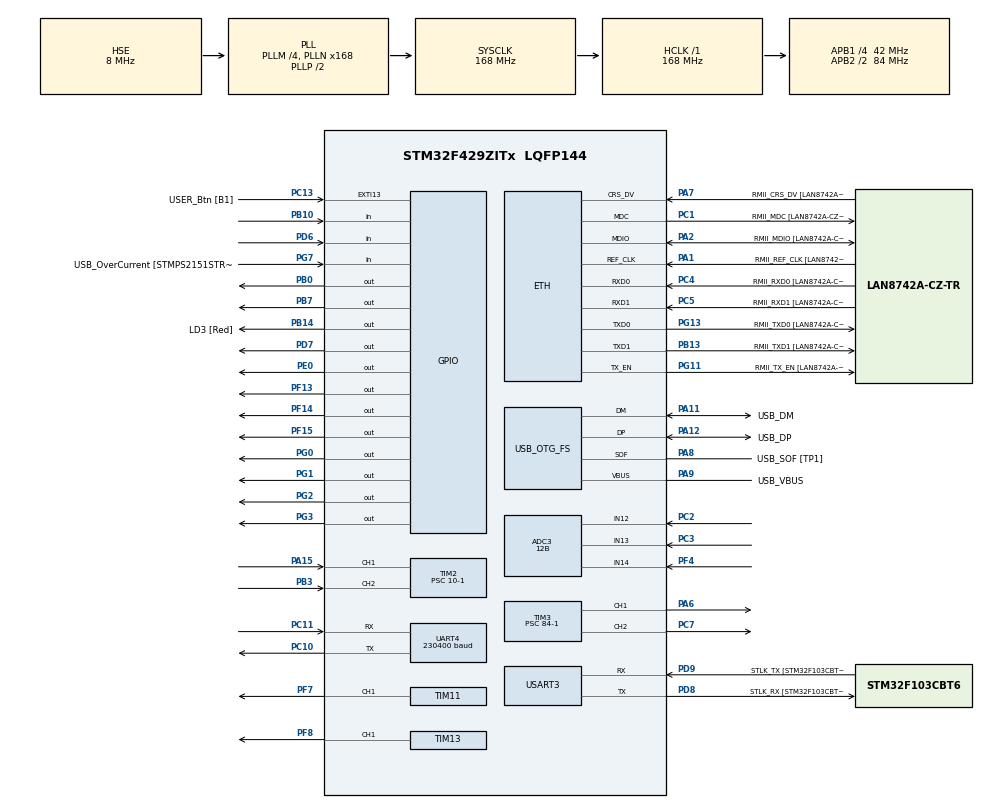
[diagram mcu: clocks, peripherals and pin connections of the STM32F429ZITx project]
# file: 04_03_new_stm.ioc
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ADC3.Channel-3\#ChannelRegularConversion=ADC_CHANNEL_13
ADC3.Channel-4\#ChannelRegularConversion=ADC_CHANNEL_12
ADC3.Channel-5\#ChannelRegularConversion=ADC_CHANNEL_14
ADC3.ContinuousConvMode=DISABLE
ADC3.DMAContinuousRequests=ENABLE
ADC3.DiscontinuousConvMode=ENABLE
ADC3.ExternalTrigConv=ADC_EXTERNALTRIGCONV_T8_TRGO
ADC3.NbrOfConversion=3
ADC3.NbrOfConversionFlag=1
ADC3.NbrOfDiscConversion=3
ADC3.Rank-3\#ChannelRegularConversion=1
ADC3.Rank-4\#ChannelRegularConversion=2
ADC3.Rank-5\#ChannelRegularConversion=3
ADC3.Resolution=ADC_RESOLUTION_12B
ADC3.SamplingTime-3\#ChannelRegularConversion=ADC_SAMPLETIME_84CYCLES
ADC3.SamplingTime-4\#ChannelRegularConversion=ADC_SAMPLETIME_480CYCLES
ADC3.SamplingTime-5\#ChannelRegularConversion=ADC_SAMPLETIME_480CYCLES
ADC3.ScanConvMode=ENABLE
Dma.ADC3.0.Direction=DMA_PERIPH_TO_MEMORY
Dma.ADC3.0.FIFOMode=DMA_FIFOMODE_DISABLE
Dma.ADC3.0.Instance=DMA2_Stream1
Dma.ADC3.0.MemDataAlignment=DMA_MDATAALIGN_HALFWORD
Dma.ADC3.0.MemInc=DMA_MINC_ENABLE
Dma.ADC3.0.Mode=DMA_CIRCULAR
Dma.ADC3.0.PeriphDataAlignment=DMA_PDATAALIGN_HALFWORD
Dma.ADC3.0.PeriphInc=DMA_PINC_DISABLE
Dma.ADC3.0.Priority=DMA_PRIORITY_LOW
Dma.Request0=ADC3
ETH.MediaInterface=HAL_ETH_RMII_MODE
ETH.PHY_Name=LAN8742A_PHY_ADDRESS
ETH.PHY_Value=0
ETH.PhyAddress=0
Mcu.Family=STM32F4
Mcu.Name=STM32F429ZITx
Mcu.Package=LQFP144
NVIC.ADC_IRQn=true\:0\:0\:true\:false\:true\:true\:true\:true
NVIC.DMA2_Stream1_IRQn=true\:0\:0\:false\:false\:true\:false\:true\:true
NVIC.PriorityGroup=NVIC_PRIORITYGROUP_4
NVIC.TIM1_TRG_COM_TIM11_IRQn=true\:0\:0\:true\:false\:true\:true\:true\:true
NVIC.TIM3_IRQn=true\:0\:0\:true\:false\:true\:true\:true\:true
NVIC.TIM6_DAC_IRQn=true\:0\:0\:true\:false\:true\:true\:true\:true
NVIC.TIM8_BRK_TIM12_IRQn=true\:0\:0\:true\:false\:true\:true\:true\:true
NVIC.TIM8_TRG_COM_TIM14_IRQn=true\:0\:0\:true\:false\:true\:true\:true\:true
NVIC.TIM8_UP_TIM13_IRQn=true\:0\:0\:true\:false\:true\:true\:true\:true
NVIC.UART4_IRQn=true\:15\:0\:true\:false\:true\:true\:true\:true
NVIC.USART3_IRQn=true\:15\:0\:true\:false\:true\:true\:true\:true
PA1.GPIO_Label=RMII_REF_CLK [LAN8742A-CZ-TR_REFCLK0]
PA1.Mode=RMII
PA1.Signal=ETH_REF_CLK
PA10.GPIO_Label=USB_ID
PA10.Signal=USB_OTG_FS_ID
PA11.GPIO_Label=USB_DM
PA11.Mode=Device_Only
PA11.Signal=USB_OTG_FS_DM
PA12.GPIO_Label=USB_DP
PA12.Mode=Device_Only
PA12.Signal=USB_OTG_FS_DP
PA13.GPIO_Label=TMS
PA13.Mode=Serial_Wire
PA13.Signal=SYS_JTMS-SWDIO
PA14.GPIO_Label=TCK
PA14.Mode=Serial_Wire
PA14.Signal=SYS_JTCK-SWCLK
PA15.Signal=S_TIM2_CH1_ETR
PA2.GPIO_Label=RMII_MDIO [LAN8742A-CZ-TR_MDIO]
PA2.Mode=RMII
PA2.Signal=ETH_MDIO
PA6.Signal=S_TIM3_CH1
PA7.GPIO_Label=RMII_CRS_DV [LAN8742A-CZ-TR_CRS_DV]
PA7.Mode=RMII
PA7.Signal=ETH_CRS_DV
PA8.GPIO_Label=USB_SOF [TP1]
PA8.Mode=Activate_SOF_FS
PA8.Signal=USB_OTG_FS_SOF
PA9.GPIO_Label=USB_VBUS
PA9.Mode=Activate_VBUS
PA9.Signal=USB_OTG_FS_VBUS
PB0.Signal=GPIO_Output
PB10.Signal=GPIO_Input
PB13.GPIO_Label=RMII_TXD1 [LAN8742A-CZ-TR_TXD1]
PB13.Mode=RMII
PB13.Signal=ETH_TXD1
PB14.GPIO_Label=LD3 [Red]
PB14.Signal=GPIO_Output
PB3.Signal=S_TIM2_CH2
PB7.Signal=GPIO_Output
PC1.GPIO_Label=RMII_MDC [LAN8742A-CZ-TR_MDC]
PC1.Mode=RMII
PC1.Signal=ETH_MDC
PC10.Mode=Asynchronous
PC10.Signal=UART4_TX
PC11.Mode=Asynchronous
PC11.Signal=UART4_RX
PC13.GPIO_Label=USER_Btn [B1]
PC13.Signal=GPXTI13
PC14/OSC32_IN.Mode=LSE-External-Oscillator
PC14/OSC32_IN.Signal=RCC_OSC32_IN
PC15/OSC32_OUT.Mode=LSE-External-Oscillator
PC15/OSC32_OUT.Signal=RCC_OSC32_OUT
PC2.Signal=ADCx_IN12
PC3.Signal=ADCx_IN13
PC4.GPIO_Label=RMII_RXD0 [LAN8742A-CZ-TR_RXD0]
PC4.Mode=RMII
PC4.Signal=ETH_RXD0
PC5.GPIO_Label=RMII_RXD1 [LAN8742A-CZ-TR_RXD1]
PC5.Mode=RMII
PC5.Signal=ETH_RXD1
PC7.Signal=S_TIM3_CH2
PD6.Signal=GPIO_Input
PD7.Signal=GPIO_Output
PD8.GPIO_Label=STLK_RX [STM32F103CBT6_PA3]
PD8.Mode=Asynchronous
PD8.Signal=USART3_TX
PD9.GPIO_Label=STLK_TX [STM32F103CBT6_PA2]
PD9.Mode=Asynchronous
PD9.Signal=USART3_RX
PE0.Signal=GPIO_Output
PF13.Signal=GPIO_Output
PF14.Signal=GPIO_Output
PF15.Signal=GPIO_Output
PF4.Mode=IN14
PF4.Signal=ADC3_IN14
PF7.Signal=S_TIM11_CH1
PF8.Signal=S_TIM13_CH1
PG0.Signal=GPIO_Output
PG1.Signal=GPIO_Output
PG11.GPIO_Label=RMII_TX_EN [LAN8742A-CZ-TR_TXEN]
PG11.Mode=RMII
PG11.Signal=ETH_TX_EN
PG13.GPIO_Label=RMII_TXD0 [LAN8742A-CZ-TR_TXD0]
PG13.Mode=RMII
PG13.Signal=ETH_TXD0
PG2.Signal=GPIO_Output
PG3.Signal=GPIO_Output
PG7.GPIO_Label=USB_OverCurrent [STMPS2151STR_FAULT]
PG7.Signal=GPIO_Input
PH0/OSC_IN.GPIO_Label=MCO [STM32F103CBT6_PA8]
PH0/OSC_IN.Mode=HSE-External-Clock-Source
PH0/OSC_IN.Signal=RCC_OSC_IN
PH1/OSC_OUT.Mode=HSE-External-Clock-Source
PH1/OSC_OUT.Signal=RCC_OSC_OUT
ProjectManager.HeapSize=0x200
ProjectManager.StackSize=0x400
ProjectManager.TargetToolchain=STM32CubeIDE
RCC.48MHZClocksFreq_Value=48000000
RCC.AHBFreq_Value=168000000
RCC.APB1CLKDivider=RCC_HCLK_DIV4
RCC.APB1Freq_Value=42000000
RCC.APB1TimFreq_Value=84000000
RCC.APB2CLKDivider=RCC_HCLK_DIV2
RCC.APB2Freq_Value=84000000
RCC.APB2TimCLKDivider=2
RCC.APB2TimFreq_Value=168000000
RCC.CortexFreq_Value=168000000
RCC.HCLKFreq_Value=168000000
RCC.HSE_VALUE=8000000
RCC.HSI_VALUE=16000000
RCC.PLLM=4
RCC.PLLMUL=RCC_PLL_MUL9
RCC.PLLN=168
RCC.PLLQ=7
RCC.PRESCALERUSB=RCC_USBCLKSOURCE_PLL_DIV1_5
RCC.SYSCLKFreq_VALUE=168000000
RCC.SYSCLKSource=RCC_SYSCLKSOURCE_PLLCLK
RCC.SYSCLKSourceVirtual=RCC_SYSCLKSOURCE_PLLCLK
RCC.USBFreq_Value=48000000
RCC.VCOOutputFreq_Value=336000000
SH.ADCx_IN12.0=ADC3_IN12,IN12
SH.ADCx_IN13.0=ADC3_IN13,IN13
SH.S_TIM11_CH1.0=TIM11_CH1,Output Compare1 CH1
SH.S_TIM13_CH1.0=TIM13_CH1,Output Compare1 CH1
SH.S_TIM2_CH1_ETR.0=TIM2_CH1,Encoder_Interface
SH.S_TIM2_CH2.0=TIM2_CH2,Encoder_Interface
SH.S_TIM3_CH1.0=TIM3_CH1,PWM Generation1 CH1
SH.S_TIM3_CH2.0=TIM3_CH2,PWM Generation2 CH2
TIM11.AutoReloadPreload=TIM_AUTORELOAD_PRELOAD_ENABLE
TIM11.Channel=TIM_CHANNEL_1
TIM11.OCMode_1=TIM_OCMODE_TOGGLE
TIM11.Period=800-1
TIM11.Prescaler=168-1
TIM11.Pulse=50
TIM12.Prescaler=42-1
TIM13.AutoReloadPreload=TIM_AUTORELOAD_PRELOAD_ENABLE
TIM13.Channel=TIM_CHANNEL_1
TIM13.OCMode_1=TIM_OCMODE_TOGGLE
TIM13.Period=800-1
TIM13.Prescaler=84-1
TIM13.Pulse=50
TIM14.Period=1000-1
TIM14.Prescaler=840-1
TIM2.EncoderMode=TIM_ENCODERMODE_TI12
TIM2.IC1Prescaler=TIM_ICPSC_DIV1
TIM2.IC2Prescaler=TIM_ICPSC_DIV1
TIM2.Period=0xFFFFFFFF-1
TIM2.Prescaler=10-1
TIM3.Channel-PWM\ Generation1\ CH1=TIM_CHANNEL_1
TIM3.Channel-PWM\ Generation2\ CH2=TIM_CHANNEL_2
TIM3.OC1Preload_PWM=DISABLE
TIM3.OC2Preload_PWM=DISABLE
TIM3.Period=10000-1
TIM3.Prescaler=84-1
TIM3.Pulse-PWM\ Generation1\ CH1=1000
TIM3.Pulse-PWM\ Generation2\ CH2=1000
TIM6.Period=1000-1
TIM6.Prescaler=84-1
TIM8.Channel-Output\ Compare4\ No\ Output=TIM_CHANNEL_4
TIM8.Period=30-1
TIM8.Prescaler=84-1
TIM8.Pulse-Output\ Compare4\ No\ Output=2000
TIM8.TIM_MasterOutputTrigger=TIM_TRGO_UPDATE
UART4.BaudRate=230400
UART4.Parity=PARITY_EVEN
UART4.VirtualMode=Asynchronous
USART3.VirtualMode=VM_ASYNC
USB_OTG_FS.VirtualMode=Device_Only
VP_TIM11_VS_ClockSourceINT.Mode=Enable_Timer
VP_TIM12_VS_ClockSourceINT.Mode=Internal
VP_TIM13_VS_ClockSourceINT.Mode=Enable_Timer
VP_TIM14_VS_ClockSourceINT.Mode=Enable_Timer
VP_TIM3_VS_ClockSourceINT.Mode=Internal
VP_TIM6_VS_ClockSourceINT.Mode=Enable_Timer
VP_TIM8_VS_ClockSourceINT.Mode=Internal
VP_TIM8_VS_no_output4.Mode=Output Compare4 No Output
board=NUCLEO-F429ZI

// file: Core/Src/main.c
/* USER CODE BEGIN Header */
/**
 ******************************************************************************
 * @file           : main.c
 * @brief          : Main program body
 ******************************************************************************
 * @attention
 *
 * Copyright (c) 2024 STMicroelectronics.
 * All rights reserved.
 *
 * This software is licensed under terms that can be found in the LICENSE file
 * in the root directory of this software component.
 * If no LICENSE file comes with this software, it is provided AS-IS.
 *
 ******************************************************************************
 */
/* USER CODE END Header */
#include "main.h"
#include "string.h"

/* USER CODE BEGIN Includes */
#include "sensor.h"
#include "com.h"
#include "pid.h"
#include "step.h"
#include <stdio.h>
//ㅇㅇ

extern float battery_V;

uint8_t buffer[256];

uint8_t key_value;

uint8_t data;

uint32_t encoder_count = 1000000;

float RPM;
float RPS;
float Omega;
uint16_t RPM_uint16;
uint16_t battery_uint16;

uint8_t ENC[4];

uint16_t ADC3_value[3];

extern int tim14_flag;
extern int tim6_flag;
extern int tim13_flag;
extern int tim11_flag;

extern int tim12_flag;

/* USER CODE END Includes */

ETH_TxPacketConfig TxConfig;
ETH_DMADescTypeDef  DMARxDscrTab[ETH_RX_DESC_CNT]; /* Ethernet Rx DMA Descriptors */
ETH_DMADescTypeDef  DMATxDscrTab[ETH_TX_DESC_CNT]; /* Ethernet Tx DMA Descriptors */

ADC_HandleTypeDef hadc3;
DMA_HandleTypeDef hdma_adc3;

ETH_HandleTypeDef heth;

TIM_HandleTypeDef htim2;
TIM_HandleTypeDef htim3;
TIM_HandleTypeDef htim6;
TIM_HandleTypeDef htim8;
TIM_HandleTypeDef htim11;
TIM_HandleTypeDef htim12;
TIM_HandleTypeDef htim13;
TIM_HandleTypeDef htim14;

UART_HandleTypeDef huart4;
UART_HandleTypeDef huart3;

PCD_HandleTypeDef hpcd_USB_OTG_FS;

void SystemClock_Config(void);
static void MX_GPIO_Init(void);
static void MX_DMA_Init(void);
static void MX_ETH_Init(void);
static void MX_USART3_UART_Init(void);
static void MX_USB_OTG_FS_PCD_Init(void);
static void MX_TIM3_Init(void);
static void MX_TIM14_Init(void);
static void MX_UART4_Init(void);
static void MX_TIM2_Init(void);
static void MX_TIM8_Init(void);
static void MX_TIM6_Init(void);
static void MX_TIM13_Init(void);
static void MX_ADC3_Init(void);
static void MX_TIM12_Init(void);
static void MX_TIM11_Init(void);

/* USER CODE BEGIN 0 */
extern uint16_t shaft_step;
extern uint16_t shaft_pulse_cycle;

extern uint16_t ball_screw_step;
extern uint16_t ball_screw_pulse_cycle;

extern uint16_t step_start;

int  qwedasd;
/* USER CODE END 0 */

int main(void)
{

  /* MCU Configuration--------------------------------------------------------*/

  /* Reset of all peripherals, Initializes the Flash interface and the Systick. */
  HAL_Init();

  /* Configure the system clock */
  SystemClock_Config();

  /* Initialize all configured peripherals */
  MX_GPIO_Init();
  MX_DMA_Init();
  MX_ETH_Init();
  MX_USART3_UART_Init();
  MX_USB_OTG_FS_PCD_Init();
  MX_TIM3_Init();
  MX_TIM14_Init();
  MX_UART4_Init();
  MX_TIM2_Init();
  MX_TIM8_Init();
  MX_TIM6_Init();
  MX_TIM13_Init();
  MX_ADC3_Init();
  MX_TIM12_Init();
  MX_TIM11_Init();
  /* USER CODE BEGIN 2 */

	HAL_UART_Receive_IT(&huart3, &key_value, 1);
	HAL_UART_Receive_IT(&huart4, &data, 1);

	HAL_ADC_Start_DMA(&hadc3, (uint32_t*) ADC3_value, 3);

	HAL_TIM_Base_Start_IT(&htim6);
	//HAL_TIM_Base_Start_IT(&htim7);

	//HAL_TIM_Base_Start(&htim1);
	HAL_TIM_Base_Start_IT(&htim12);
//	HAL_TIM_OC_Start_IT(&htim13,TIM_CHANNEL_1);
	HAL_TIM_PWM_Start_IT(&htim3, TIM_CHANNEL_1);
	setvbuf(stdin, NULL, _IONBF, 0);
  /* USER CODE END 2 */

  /* Infinite loop */
	while (1) {

    /* USER CODE BEGIN 3 */

		encoder_count = TIM2->CNT;

		//바퀴 pid >> tim6 인터럽트 핸들러 내부
		//z축 볼스크류 스텝모터  >> tim11 인터럽트 핸들러 내부
		//축 스텝모터  >> tim13 인터럽트 핸들러 내부
/*

		if (tim11_flag == 1) {
		tim11_flag = 0;
		}

		if (tim13_flag == 1 && step_enable == 1) { //축 스텝모터

			if (tim14_flag >= 120) { //1.2초후 최고속도
				shaft_pulse_cycle = 9000;
			}

		}
*/
		if (tim6_flag == 1) {  //0.01s
			distance_sensor();  //거리 센서

			tim6_flag = 0;
		}
		if (tim14_flag == 200) //2초
				{
			GPIOB->ODR ^= 1 << 7;
			RPM_uint16 = RPM * 10;
			battery_uint16 = battery_V * 100;

			SerialSendChar_WIFI('?');

			/*
			 sprintf((char *)buffer, "%d \r\n",battery_uint16);
			 HAL_UART_Transmit(&huart3, buffer, strlen((char *)buffer), 100);

			 sprintf((char *)buffer, "%d \r\n",RPM_uint16);
			 HAL_UART_Transmit(&huart3, buffer, strlen((char *)buffer), 100);
			 */

//배터리, 속도 전송
			sprintf((char*) buffer, "%d", battery_uint16);
			HAL_UART_Transmit(&huart4, buffer, strlen((char*) buffer), 100);
			sprintf((char*) buffer, "%d", RPM_uint16);
			HAL_UART_Transmit(&huart4, buffer, strlen((char*) buffer), 100);
			sprintf((char*) buffer, "%d", battery_uint16);
			HAL_UART_Transmit(&huart4, buffer, strlen((char*) buffer), 100);

			tim14_flag = 0;
		}

	/*	if (tim6_flag == 1) {
			if (position_start == 1) {
				position_pid();

				tim6_flag = 0;
			}
		}
*/
		//  printf("%d %d \n\r",encoder_count,input_position );

//	  HAL_Delay(1);

	}
  /* USER CODE END 3 */
}

void SystemClock_Config(void)
{
  RCC_OscInitTypeDef RCC_OscInitStruct = {0};
  RCC_ClkInitTypeDef RCC_ClkInitStruct = {0};

  /** Configure the main internal regulator output voltage
  */
  __HAL_RCC_PWR_CLK_ENABLE();
  __HAL_PWR_VOLTAGESCALING_CONFIG(PWR_REGULATOR_VOLTAGE_SCALE1);

  /** Initializes the RCC Oscillators according to the specified parameters
  * in the RCC_OscInitTypeDef structure.
  */
  RCC_OscInitStruct.OscillatorType = RCC_OSCILLATORTYPE_HSE;
  RCC_OscInitStruct.HSEState = RCC_HSE_BYPASS;
  RCC_OscInitStruct.PLL.PLLState = RCC_PLL_ON;
  RCC_OscInitStruct.PLL.PLLSource = RCC_PLLSOURCE_HSE;
  RCC_OscInitStruct.PLL.PLLM = 4;
  RCC_OscInitStruct.PLL.PLLN = 168;
  RCC_OscInitStruct.PLL.PLLP = RCC_PLLP_DIV2;
  RCC_OscInitStruct.PLL.PLLQ = 7;
  if (HAL_RCC_OscConfig(&RCC_OscInitStruct) != HAL_OK)
  {
    Error_Handler();
  }

  /** Initializes the CPU, AHB and APB buses clocks
  */
  RCC_ClkInitStruct.ClockType = RCC_CLOCKTYPE_HCLK|RCC_CLOCKTYPE_SYSCLK
                              |RCC_CLOCKTYPE_PCLK1|RCC_CLOCKTYPE_PCLK2;
  RCC_ClkInitStruct.SYSCLKSource = RCC_SYSCLKSOURCE_PLLCLK;
  RCC_ClkInitStruct.AHBCLKDivider = RCC_SYSCLK_DIV1;
  RCC_ClkInitStruct.APB1CLKDivider = RCC_HCLK_DIV4;
  RCC_ClkInitStruct.APB2CLKDivider = RCC_HCLK_DIV2;

  if (HAL_RCC_ClockConfig(&RCC_ClkInitStruct, FLASH_LATENCY_5) != HAL_OK)
  {
    Error_Handler();
  }
}

static void MX_ADC3_Init(void)
{

  ADC_ChannelConfTypeDef sConfig = {0};

  /** Configure the global features of the ADC (Clock, Resolution, Data Alignment and number of conversion)
  */
  hadc3.Instance = ADC3;
  hadc3.Init.ClockPrescaler = ADC_CLOCK_SYNC_PCLK_DIV4;
  hadc3.Init.Resolution = ADC_RESOLUTION_12B;
  hadc3.Init.ScanConvMode = ENABLE;
  hadc3.Init.ContinuousConvMode = DISABLE;
  hadc3.Init.DiscontinuousConvMode = ENABLE;
  hadc3.Init.NbrOfDiscConversion = 3;
  hadc3.Init.ExternalTrigConvEdge = ADC_EXTERNALTRIGCONVEDGE_RISING;
  hadc3.Init.ExternalTrigConv = ADC_EXTERNALTRIGCONV_T8_TRGO;
  hadc3.Init.DataAlign = ADC_DATAALIGN_RIGHT;
  hadc3.Init.NbrOfConversion = 3;
  hadc3.Init.DMAContinuousRequests = ENABLE;
  hadc3.Init.EOCSelection = ADC_EOC_SINGLE_CONV;
  if (HAL_ADC_Init(&hadc3) != HAL_OK)
  {
    Error_Handler();
  }

  /** Configure for the selected ADC regular channel its corresponding rank in the sequencer and its sample time.
  */
  sConfig.Channel = ADC_CHANNEL_13;
  sConfig.Rank = 1;
  sConfig.SamplingTime = ADC_SAMPLETIME_84CYCLES;
  if (HAL_ADC_ConfigChannel(&hadc3, &sConfig) != HAL_OK)
  {
    Error_Handler();
  }

  /** Configure for the selected ADC regular channel its corresponding rank in the sequencer and its sample time.
  */
  sConfig.Channel = ADC_CHANNEL_12;
  sConfig.Rank = 2;
  sConfig.SamplingTime = ADC_SAMPLETIME_480CYCLES;
  if (HAL_ADC_ConfigChannel(&hadc3, &sConfig) != HAL_OK)
  {
    Error_Handler();
  }

  /** Configure for the selected ADC regular channel its corresponding rank in the sequencer and its sample time.
  */
  sConfig.Channel = ADC_CHANNEL_14;
  sConfig.Rank = 3;
  if (HAL_ADC_ConfigChannel(&hadc3, &sConfig) != HAL_OK)
  {
    Error_Handler();
  }

}

static void MX_ETH_Init(void)
{

   static uint8_t MACAddr[6];

  heth.Instance = ETH;
  MACAddr[0] = 0x00;
  MACAddr[1] = 0x80;
  MACAddr[2] = 0xE1;
  MACAddr[3] = 0x00;
  MACAddr[4] = 0x00;
  MACAddr[5] = 0x00;
  heth.Init.MACAddr = &MACAddr[0];
  heth.Init.MediaInterface = HAL_ETH_RMII_MODE;
  heth.Init.TxDesc = DMATxDscrTab;
  heth.Init.RxDesc = DMARxDscrTab;
  heth.Init.RxBuffLen = 1524;

  if (HAL_ETH_Init(&heth) != HAL_OK)
  {
    Error_Handler();
  }

  memset(&TxConfig, 0 , sizeof(ETH_TxPacketConfig));
  TxConfig.Attributes = ETH_TX_PACKETS_FEATURES_CSUM | ETH_TX_PACKETS_FEATURES_CRCPAD;
  TxConfig.ChecksumCtrl = ETH_CHECKSUM_IPHDR_PAYLOAD_INSERT_PHDR_CALC;
  TxConfig.CRCPadCtrl = ETH_CRC_PAD_INSERT;

}

static void MX_TIM2_Init(void)
{

  TIM_Encoder_InitTypeDef sConfig = {0};
  TIM_MasterConfigTypeDef sMasterConfig = {0};

  htim2.Instance = TIM2;
  htim2.Init.Prescaler = 10-1;
  htim2.Init.CounterMode = TIM_COUNTERMODE_UP;
  htim2.Init.Period = 0xFFFFFFFF-1;
  htim2.Init.ClockDivision = TIM_CLOCKDIVISION_DIV1;
  htim2.Init.AutoReloadPreload = TIM_AUTORELOAD_PRELOAD_DISABLE;
  sConfig.EncoderMode = TIM_ENCODERMODE_TI12;
  sConfig.IC1Polarity = TIM_ICPOLARITY_RISING;
  sConfig.IC1Selection = TIM_ICSELECTION_DIRECTTI;
  sConfig.IC1Prescaler = TIM_ICPSC_DIV1;
  sConfig.IC1Filter = 0;
  sConfig.IC2Polarity = TIM_ICPOLARITY_RISING;
  sConfig.IC2Selection = TIM_ICSELECTION_DIRECTTI;
  sConfig.IC2Prescaler = TIM_ICPSC_DIV1;
  sConfig.IC2Filter = 0;
  if (HAL_TIM_Encoder_Init(&htim2, &sConfig) != HAL_OK)
  {
    Error_Handler();
  }
  sMasterConfig.MasterOutputTrigger = TIM_TRGO_RESET;
  sMasterConfig.MasterSlaveMode = TIM_MASTERSLAVEMODE_DISABLE;
  if (HAL_TIMEx_MasterConfigSynchronization(&htim2, &sMasterConfig) != HAL_OK)
  {
    Error_Handler();
  }
  /* USER CODE BEGIN TIM2_Init 2 */
	HAL_TIM_Encoder_Start(&htim2, TIM_CHANNEL_ALL);
  /* USER CODE END TIM2_Init 2 */

}

static void MX_TIM3_Init(void)
{

  TIM_ClockConfigTypeDef sClockSourceConfig = {0};
  TIM_MasterConfigTypeDef sMasterConfig = {0};
  TIM_OC_InitTypeDef sConfigOC = {0};

  htim3.Instance = TIM3;
  htim3.Init.Prescaler = 84-1;
  htim3.Init.CounterMode = TIM_COUNTERMODE_UP;
  htim3.Init.Period = 10000-1;
  htim3.Init.ClockDivision = TIM_CLOCKDIVISION_DIV1;
  htim3.Init.AutoReloadPreload = TIM_AUTORELOAD_PRELOAD_DISABLE;
  if (HAL_TIM_Base_Init(&htim3) != HAL_OK)
  {
    Error_Handler();
  }
  sClockSourceConfig.ClockSource = TIM_CLOCKSOURCE_INTERNAL;
  if (HAL_TIM_ConfigClockSource(&htim3, &sClockSourceConfig) != HAL_OK)
  {
    Error_Handler();
  }
  if (HAL_TIM_PWM_Init(&htim3) != HAL_OK)
  {
    Error_Handler();
  }
  sMasterConfig.MasterOutputTrigger = TIM_TRGO_RESET;
  sMasterConfig.MasterSlaveMode = TIM_MASTERSLAVEMODE_DISABLE;
  if (HAL_TIMEx_MasterConfigSynchronization(&htim3, &sMasterConfig) != HAL_OK)
  {
    Error_Handler();
  }
  sConfigOC.OCMode = TIM_OCMODE_PWM1;
  sConfigOC.Pulse = 1000;
  sConfigOC.OCPolarity = TIM_OCPOLARITY_HIGH;
  sConfigOC.OCFastMode = TIM_OCFAST_DISABLE;
  if (HAL_TIM_PWM_ConfigChannel(&htim3, &sConfigOC, TIM_CHANNEL_1) != HAL_OK)
  {
    Error_Handler();
  }
  __HAL_TIM_DISABLE_OCxPRELOAD(&htim3, TIM_CHANNEL_1);
  if (HAL_TIM_PWM_ConfigChannel(&htim3, &sConfigOC, TIM_CHANNEL_2) != HAL_OK)
  {
    Error_Handler();
  }
  __HAL_TIM_DISABLE_OCxPRELOAD(&htim3, TIM_CHANNEL_2);
  /* USER CODE BEGIN TIM3_Init 2 */
	TIM3->DIER |= (1 << 1);   // CC1IE: Enable the Tim3 CC1 interrupt
	NVIC->ISER[0] |= (1 << 29); // TIM3_CC
	TIM3->CCER |= (1 << 0);	// CC1E=1: OC1(TIM5_CH1) Active(Capture/Compare 1 output enable)
	// ?��?��??(40�??????????????????????????????????????????)?�� ?��?�� ?��?��출력
	TIM3->CR1 |= (1 << 0);	// CEN: Counter TIM3 enable

  /* USER CODE END TIM3_Init 2 */
  HAL_TIM_MspPostInit(&htim3);

}

static void MX_TIM6_Init(void)
{

  /* USER CODE BEGIN TIM6_Init 0 */
	//0.001s = 1ms
	//PID 샘플링 주기
  /* USER CODE END TIM6_Init 0 */

  TIM_MasterConfigTypeDef sMasterConfig = {0};

  htim6.Instance = TIM6;
  htim6.Init.Prescaler = 84-1;
  htim6.Init.CounterMode = TIM_COUNTERMODE_UP;
  htim6.Init.Period = 1000-1;
  htim6.Init.AutoReloadPreload = TIM_AUTORELOAD_PRELOAD_DISABLE;
  if (HAL_TIM_Base_Init(&htim6) != HAL_OK)
  {
    Error_Handler();
  }
  sMasterConfig.MasterOutputTrigger = TIM_TRGO_RESET;
  sMasterConfig.MasterSlaveMode = TIM_MASTERSLAVEMODE_DISABLE;
  if (HAL_TIMEx_MasterConfigSynchronization(&htim6, &sMasterConfig) != HAL_OK)
  {
    Error_Handler();
  }
  /* USER CODE BEGIN TIM6_Init 2 */
	HAL_TIM_Base_Start_IT(&htim6);
  /* USER CODE END TIM6_Init 2 */

}

static void MX_TIM8_Init(void)
{

  /* USER CODE BEGIN TIM8_Init 0 */
	//ADC 측정 타이머 , 나중엔 필요 x
  /* USER CODE END TIM8_Init 0 */

  TIM_ClockConfigTypeDef sClockSourceConfig = {0};
  TIM_MasterConfigTypeDef sMasterConfig = {0};
  TIM_OC_InitTypeDef sConfigOC = {0};
  TIM_BreakDeadTimeConfigTypeDef sBreakDeadTimeConfig = {0};

  htim8.Instance = TIM8;
  htim8.Init.Prescaler = 84-1;
  htim8.Init.CounterMode = TIM_COUNTERMODE_UP;
  htim8.Init.Period = 30-1;
  htim8.Init.ClockDivision = TIM_CLOCKDIVISION_DIV1;
  htim8.Init.RepetitionCounter = 0;
  htim8.Init.AutoReloadPreload = TIM_AUTORELOAD_PRELOAD_DISABLE;
  if (HAL_TIM_Base_Init(&htim8) != HAL_OK)
  {
    Error_Handler();
  }
  sClockSourceConfig.ClockSource = TIM_CLOCKSOURCE_INTERNAL;
  if (HAL_TIM_ConfigClockSource(&htim8, &sClockSourceConfig) != HAL_OK)
  {
    Error_Handler();
  }
  if (HAL_TIM_OC_Init(&htim8) != HAL_OK)
  {
    Error_Handler();
  }
  sMasterConfig.MasterOutputTrigger = TIM_TRGO_UPDATE;
  sMasterConfig.MasterSlaveMode = TIM_MASTERSLAVEMODE_DISABLE;
  if (HAL_TIMEx_MasterConfigSynchronization(&htim8, &sMasterConfig) != HAL_OK)
  {
    Error_Handler();
  }
  sConfigOC.OCMode = TIM_OCMODE_TIMING;
  sConfigOC.Pulse = 2000;
  sConfigOC.OCPolarity = TIM_OCPOLARITY_HIGH;
  sConfigOC.OCFastMode = TIM_OCFAST_DISABLE;
  sConfigOC.OCIdleState = TIM_OCIDLESTATE_RESET;
  sConfigOC.OCNIdleState = TIM_OCNIDLESTATE_RESET;
  if (HAL_TIM_OC_ConfigChannel(&htim8, &sConfigOC, TIM_CHANNEL_4) != HAL_OK)
  {
    Error_Handler();
  }
  sBreakDeadTimeConfig.OffStateRunMode = TIM_OSSR_DISABLE;
  sBreakDeadTimeConfig.OffStateIDLEMode = TIM_OSSI_DISABLE;
  sBreakDeadTimeConfig.LockLevel = TIM_LOCKLEVEL_OFF;
  sBreakDeadTimeConfig.DeadTime = 0;
  sBreakDeadTimeConfig.BreakState = TIM_BREAK_DISABLE;
  sBreakDeadTimeConfig.BreakPolarity = TIM_BREAKPOLARITY_HIGH;
  sBreakDeadTimeConfig.AutomaticOutput = TIM_AUTOMATICOUTPUT_DISABLE;
  if (HAL_TIMEx_ConfigBreakDeadTime(&htim8, &sBreakDeadTimeConfig) != HAL_OK)
  {
    Error_Handler();
  }
  /* USER CODE BEGIN TIM8_Init 2 */
	HAL_TIM_Base_Start_IT(&htim8);
  /* USER CODE END TIM8_Init 2 */

}

static void MX_TIM11_Init(void)
{

  TIM_OC_InitTypeDef sConfigOC = {0};

  htim11.Instance = TIM11;
  htim11.Init.Prescaler = 168-1;
  htim11.Init.CounterMode = TIM_COUNTERMODE_UP;
  htim11.Init.Period = 800-1;
  htim11.Init.ClockDivision = TIM_CLOCKDIVISION_DIV1;
  htim11.Init.AutoReloadPreload = TIM_AUTORELOAD_PRELOAD_ENABLE;
  if (HAL_TIM_Base_Init(&htim11) != HAL_OK)
  {
    Error_Handler();
  }
  if (HAL_TIM_OC_Init(&htim11) != HAL_OK)
  {
    Error_Handler();
  }
  sConfigOC.OCMode = TIM_OCMODE_TOGGLE;
  sConfigOC.Pulse = 50;
  sConfigOC.OCPolarity = TIM_OCPOLARITY_HIGH;
  sConfigOC.OCFastMode = TIM_OCFAST_DISABLE;
  if (HAL_TIM_OC_ConfigChannel(&htim11, &sConfigOC, TIM_CHANNEL_1) != HAL_OK)
  {
    Error_Handler();
  }
  HAL_TIM_MspPostInit(&htim11);

}

static void MX_TIM12_Init(void)
{

  /* USER CODE BEGIN TIM12_Init 0 */
	// 초음파 센서
  /* USER CODE END TIM12_Init 0 */

  TIM_ClockConfigTypeDef sClockSourceConfig = {0};

  htim12.Instance = TIM12;
  htim12.Init.Prescaler = 42-1;
  htim12.Init.CounterMode = TIM_COUNTERMODE_UP;
  htim12.Init.Period = 65535;
  htim12.Init.ClockDivision = TIM_CLOCKDIVISION_DIV1;
  htim12.Init.AutoReloadPreload = TIM_AUTORELOAD_PRELOAD_DISABLE;
  if (HAL_TIM_Base_Init(&htim12) != HAL_OK)
  {
    Error_Handler();
  }
  sClockSourceConfig.ClockSource = TIM_CLOCKSOURCE_INTERNAL;
  if (HAL_TIM_ConfigClockSource(&htim12, &sClockSourceConfig) != HAL_OK)
  {
    Error_Handler();
  }

}

static void MX_TIM13_Init(void)
{

  /* USER CODE BEGIN TIM13_Init 0 */
// 테스트 용
  /* USER CODE END TIM13_Init 0 */

  TIM_OC_InitTypeDef sConfigOC = {0};

  htim13.Instance = TIM13;
  htim13.Init.Prescaler = 84-1;
  htim13.Init.CounterMode = TIM_COUNTERMODE_UP;
  htim13.Init.Period = 800-1;
  htim13.Init.ClockDivision = TIM_CLOCKDIVISION_DIV1;
  htim13.Init.AutoReloadPreload = TIM_AUTORELOAD_PRELOAD_ENABLE;
  if (HAL_TIM_Base_Init(&htim13) != HAL_OK)
  {
    Error_Handler();
  }
  if (HAL_TIM_OC_Init(&htim13) != HAL_OK)
  {
    Error_Handler();
  }
  sConfigOC.OCMode = TIM_OCMODE_TOGGLE;
  sConfigOC.Pulse = 50;
  sConfigOC.OCPolarity = TIM_OCPOLARITY_HIGH;
  sConfigOC.OCFastMode = TIM_OCFAST_DISABLE;
  if (HAL_TIM_OC_ConfigChannel(&htim13, &sConfigOC, TIM_CHANNEL_1) != HAL_OK)
  {
    Error_Handler();
  }
  /* USER CODE BEGIN TIM13_Init 2 */
	HAL_TIM_MspPostInit(&htim13);
  /* USER CODE END TIM13_Init 2 */
  HAL_TIM_MspPostInit(&htim13);

}

static void MX_TIM14_Init(void)
{

  /* USER CODE BEGIN TIM14_Init 0 */
//RPM 측정
  /* USER CODE END TIM14_Init 0 */

  htim14.Instance = TIM14;
  htim14.Init.Prescaler = 840-1;
  htim14.Init.CounterMode = TIM_COUNTERMODE_UP;
  htim14.Init.Period = 1000-1;
  htim14.Init.ClockDivision = TIM_CLOCKDIVISION_DIV1;
  htim14.Init.AutoReloadPreload = TIM_AUTORELOAD_PRELOAD_DISABLE;
  if (HAL_TIM_Base_Init(&htim14) != HAL_OK)
  {
    Error_Handler();
  }
  /* USER CODE BEGIN TIM14_Init 2 */
	TIM14->DIER |= (1 << 0);   // CC1IE: Enable the Tim14 UG interrupt
	NVIC->ISER[1] |= (1 << (45 - 32)); // TIM14_CC

	TIM14->CR1 |= (1 << 0);	// CEN: Counter TIM14 enable

  /* USER CODE END TIM14_Init 2 */

}

static void MX_UART4_Init(void)
{

  huart4.Instance = UART4;
  huart4.Init.BaudRate = 230400;
  huart4.Init.WordLength = UART_WORDLENGTH_8B;
  huart4.Init.StopBits = UART_STOPBITS_1;
  huart4.Init.Parity = UART_PARITY_EVEN;
  huart4.Init.Mode = UART_MODE_TX_RX;
  huart4.Init.HwFlowCtl = UART_HWCONTROL_NONE;
  huart4.Init.OverSampling = UART_OVERSAMPLING_16;
  if (HAL_UART_Init(&huart4) != HAL_OK)
  {
    Error_Handler();
  }

}

static void MX_USART3_UART_Init(void)
{

  huart3.Instance = USART3;
  huart3.Init.BaudRate = 115200;
  huart3.Init.WordLength = UART_WORDLENGTH_8B;
  huart3.Init.StopBits = UART_STOPBITS_1;
  huart3.Init.Parity = UART_PARITY_NONE;
  huart3.Init.Mode = UART_MODE_TX_RX;
  huart3.Init.HwFlowCtl = UART_HWCONTROL_NONE;
  huart3.Init.OverSampling = UART_OVERSAMPLING_16;
  if (HAL_UART_Init(&huart3) != HAL_OK)
  {
    Error_Handler();
  }

}

static void MX_USB_OTG_FS_PCD_Init(void)
{

  hpcd_USB_OTG_FS.Instance = USB_OTG_FS;
  hpcd_USB_OTG_FS.Init.dev_endpoints = 4;
  hpcd_USB_OTG_FS.Init.speed = PCD_SPEED_FULL;
  hpcd_USB_OTG_FS.Init.dma_enable = DISABLE;
  hpcd_USB_OTG_FS.Init.phy_itface = PCD_PHY_EMBEDDED;
  hpcd_USB_OTG_FS.Init.Sof_enable = ENABLE;
  hpcd_USB_OTG_FS.Init.low_power_enable = DISABLE;
  hpcd_USB_OTG_FS.Init.lpm_enable = DISABLE;
  hpcd_USB_OTG_FS.Init.vbus_sensing_enable = ENABLE;
  hpcd_USB_OTG_FS.Init.use_dedicated_ep1 = DISABLE;
  if (HAL_PCD_Init(&hpcd_USB_OTG_FS) != HAL_OK)
  {
    Error_Handler();
  }

}

static void MX_DMA_Init(void)
{

  /* DMA controller clock enable */
  __HAL_RCC_DMA2_CLK_ENABLE();

  /* DMA interrupt init */
  /* DMA2_Stream1_IRQn interrupt configuration */
  HAL_NVIC_SetPriority(DMA2_Stream1_IRQn, 0, 0);
  HAL_NVIC_EnableIRQ(DMA2_Stream1_IRQn);

}

static void MX_GPIO_Init(void)
{
  GPIO_InitTypeDef GPIO_InitStruct = {0};

  /* GPIO Ports Clock Enable */
  __HAL_RCC_GPIOC_CLK_ENABLE();
  __HAL_RCC_GPIOF_CLK_ENABLE();
  __HAL_RCC_GPIOH_CLK_ENABLE();
  __HAL_RCC_GPIOA_CLK_ENABLE();
  __HAL_RCC_GPIOB_CLK_ENABLE();
  __HAL_RCC_GPIOG_CLK_ENABLE();
  __HAL_RCC_GPIOD_CLK_ENABLE();
  __HAL_RCC_GPIOE_CLK_ENABLE();

  /*Configure GPIO pin Output Level */
  HAL_GPIO_WritePin(GPIOB, GPIO_PIN_0|LD3_Pin|GPIO_PIN_7, GPIO_PIN_RESET);

  /*Configure GPIO pin Output Level */
  HAL_GPIO_WritePin(GPIOF, GPIO_PIN_13|GPIO_PIN_14|GPIO_PIN_15, GPIO_PIN_RESET);

  /*Configure GPIO pin Output Level */
  HAL_GPIO_WritePin(GPIOG, GPIO_PIN_0|GPIO_PIN_1|GPIO_PIN_2|GPIO_PIN_3, GPIO_PIN_RESET);

  /*Configure GPIO pin Output Level */
  HAL_GPIO_WritePin(GPIOD, GPIO_PIN_7, GPIO_PIN_RESET);

  /*Configure GPIO pin Output Level */
  HAL_GPIO_WritePin(GPIOE, GPIO_PIN_0, GPIO_PIN_RESET);

  /*Configure GPIO pin : USER_Btn_Pin */
  GPIO_InitStruct.Pin = USER_Btn_Pin;
  GPIO_InitStruct.Mode = GPIO_MODE_IT_RISING;
  GPIO_InitStruct.Pull = GPIO_NOPULL;
  HAL_GPIO_Init(USER_Btn_GPIO_Port, &GPIO_InitStruct);

  /*Configure GPIO pins : PB0 LD3_Pin PB7 */
  GPIO_InitStruct.Pin = GPIO_PIN_0|LD3_Pin|GPIO_PIN_7;
  GPIO_InitStruct.Mode = GPIO_MODE_OUTPUT_PP;
  GPIO_InitStruct.Pull = GPIO_NOPULL;
  GPIO_InitStruct.Speed = GPIO_SPEED_FREQ_LOW;
  HAL_GPIO_Init(GPIOB, &GPIO_InitStruct);

  /*Configure GPIO pins : PF13 PF14 PF15 */
  GPIO_InitStruct.Pin = GPIO_PIN_13|GPIO_PIN_14|GPIO_PIN_15;
  GPIO_InitStruct.Mode = GPIO_MODE_OUTPUT_PP;
  GPIO_InitStruct.Pull = GPIO_NOPULL;
  GPIO_InitStruct.Speed = GPIO_SPEED_FREQ_LOW;
  HAL_GPIO_Init(GPIOF, &GPIO_InitStruct);

  /*Configure GPIO pins : PG0 PG1 PG2 PG3 */
  GPIO_InitStruct.Pin = GPIO_PIN_0|GPIO_PIN_1|GPIO_PIN_2|GPIO_PIN_3;
  GPIO_InitStruct.Mode = GPIO_MODE_OUTPUT_PP;
  GPIO_InitStruct.Pull = GPIO_NOPULL;
  GPIO_InitStruct.Speed = GPIO_SPEED_FREQ_LOW;
  HAL_GPIO_Init(GPIOG, &GPIO_InitStruct);

  /*Configure GPIO pin : PB10 */
  GPIO_InitStruct.Pin = GPIO_PIN_10;
  GPIO_InitStruct.Mode = GPIO_MODE_INPUT;
  GPIO_InitStruct.Pull = GPIO_NOPULL;
  HAL_GPIO_Init(GPIOB, &GPIO_InitStruct);

  /*Configure GPIO pin : USB_OverCurrent_Pin */
  GPIO_InitStruct.Pin = USB_OverCurrent_Pin;
  GPIO_InitStruct.Mode = GPIO_MODE_INPUT;
  GPIO_InitStruct.Pull = GPIO_NOPULL;
  HAL_GPIO_Init(USB_OverCurrent_GPIO_Port, &GPIO_InitStruct);

  /*Configure GPIO pin : PD6 */
  GPIO_InitStruct.Pin = GPIO_PIN_6;
  GPIO_InitStruct.Mode = GPIO_MODE_INPUT;
  GPIO_InitStruct.Pull = GPIO_NOPULL;
  HAL_GPIO_Init(GPIOD, &GPIO_InitStruct);

  /*Configure GPIO pin : PD7 */
  GPIO_InitStruct.Pin = GPIO_PIN_7;
  GPIO_InitStruct.Mode = GPIO_MODE_OUTPUT_PP;
  GPIO_InitStruct.Pull = GPIO_NOPULL;
  GPIO_InitStruct.Speed = GPIO_SPEED_FREQ_LOW;
  HAL_GPIO_Init(GPIOD, &GPIO_InitStruct);

  /*Configure GPIO pin : PE0 */
  GPIO_InitStruct.Pin = GPIO_PIN_0;
  GPIO_InitStruct.Mode = GPIO_MODE_OUTPUT_PP;
  GPIO_InitStruct.Pull = GPIO_NOPULL;
  GPIO_InitStruct.Speed = GPIO_SPEED_FREQ_LOW;
  HAL_GPIO_Init(GPIOE, &GPIO_InitStruct);

}

/* USER CODE BEGIN 4 */
void HAL_TIM_PeriodElapsedCallback(TIM_HandleTypeDef *htim) {
	if (htim->Instance == TIM13) {

		GPIOB->ODR ^= 1 << 14;

		/* tim13_flag=1;

		 step_pulse_count++;

		 if(step_pulse_count==200*10)  //    2000/rev
		 {
		 HAL_GPIO_WritePin(GPIOF, GPIO_PIN_13, 1);  //정지
		 HAL_TIM_OC_Stop_IT(&htim13,TIM_CHANNEL_1);
		 }*/
	}
}

/* USER CODE END 4 */

void Error_Handler(void)
{
	__disable_irq();
	while (1) {
	}
}
